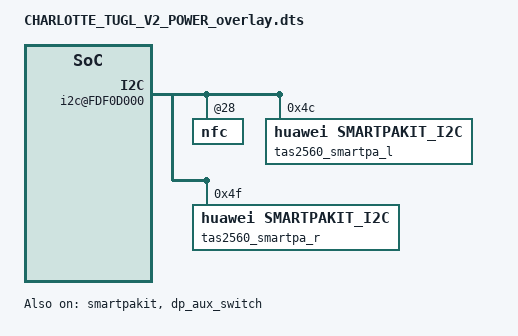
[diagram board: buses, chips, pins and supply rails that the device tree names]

/**
 * Copyright (C) 2014 Hisilicon Ltd.
 *
 *  This program is free software; you can redistribute it and/or modify
 *  it under the terms of the GNU General Public License version 2 as
 *  publishhed by the Free Software Foundation.
 */

/dts-v1/;
/plugin/;
/include/ "CHARLOTTE_TUGL_V1_overlay.dtsi"

/ {
    board_id = <6523>;
};

&rootparam {
        hisi,dtbo_idx = <109>;
    hisi,boardid = <6 5 2 3>;
    hisi,boardname = "CHARLOTTE_TUGL_V2_POWER";
};


&smartpakit{
    dsp_img_name = "hifi_6403_tas_devkit.img";
    status = "ok";
};

&dp_aux_switch {
    aux_switch_from_fsa4476;
    status = "ok";
};

&amba {
    i2c@FDF0D000 {
        nfc@28 {
            clk_status ="xtal";
        };
    };
};

&amba {
    i2c@FDF0D000 {
        smartpa@34{
            status = "disabled";
        };
        smartpa@36{
            status = "disabled";
        };

tas2560_smartpa_l:smartpa@4C {
                      compatible = "huawei,smartpakit_i2c";
                      reg = <0x4C>;
                      /* 0 MAXIM, 1 NXP, 2 TI, 3 OTHER */
                      chip_vendor = <2>;
                      /* refer to smartpakit.out_device prop */
                      chip_id = <0>;
                      chip_model = "tas2560";
                      /* maybe trigger one irq after some chip reset, ext. tas2560
                       * debounce wait time unit: msecs */
                      reset_debounce_wait_time = <100>;
                      status = "ok";

                      /* reg_ctl node: a node contains three data<addr value ctl_type>
                       * ctl_type: 0 read reg(default), 1 write reg, 2 only time delay
                       * value:
                       *     read:  reg number(num >= 1)
                       *     write: reg value
                       *     delay: time delay
                       * time delay unit: msecs */
                      version_regs = <
                          0  0  1
                          125 1 0
                          >;
                      dump_regs = <
                          0 0   1
                          0 128 0
                          0 50  1
                          0 128 0
                          0 51  1
                          0 128 0
                          0 52  1
                          0 128 0
                          >;
                      hw_reset {
                          gpio_reset = <134>;
                          /* gpio_state node: a node contains two data<state delay>
                           * time delay unit: msecs */
                          ctl_sequence = <0 3 1 2>;
                      };
                      irq_handler {
                          gpio_irq = <200>;
                          /* 0x0 IRQF_TRIGGER_NONE, 0x1 IRQF_TRIGGER_RISING, 0x2 IRQF_TRIGGER_FALLING, 0x4 IRQF_TRIGGER_HIGH, 0x8 IRQF_TRIGGER_LOW*/
                          irq_flags = <2>;
                          /* whether or not need reset chip*/
                          need_reset;
                          rw_sequence = <
                              0  20 2
                              0  0  1
                              37 1  0
                              38 1  0
                              39 1  0
                              7  1  0
                              42 1  0
                              >;
                      };
                      regmap_cfg {
                          reg_bits = <8>;
                          val_bits = <8>;
                          /* 0 REGCACHE_NONE, 1 REGCACHE_RBTREE, 2 REGCACHE_COMPRESSED, 3 REGCACHE_FLAT */
                          cache_type = <0>;
                          max_register = <128>;
                      };
                  };
tas2560_smartpa_r:smartpa@4F {
                      compatible = "huawei,smartpakit_i2c";
                      reg = <0x4F>;
                      /* 0 MAXIM, 1 NXP, 2 TI, 3 OTHER */
                      chip_vendor = <2>;
                      /* refer to smartpakit.out_device prop */
                      chip_id = <1>;
                      chip_model = "tas2560";
                      /* maybe trigger one irq after some chip reset, ext. tas2560
                       * debounce wait time unit: msecs */
                      reset_debounce_wait_time = <100>;
                      status = "ok";

                      /* reg_ctl node: a node contains three data<addr value ctl_type>
                       * ctl_type: 0 read reg(default), 1 write reg, 2 only time delay
                       * value:
                       *     read:  reg number(num >= 1)
                       *     write: reg value
                       *     delay: time delay
                       * time delay unit: msecs */
                      version_regs = <
                          0   0   1
                          125 1   0
                          >;
                      dump_regs = <
                          0   0   1
                          0   128 0
                          0   50  1
                          0   128 0
                          0   51  1
                          0   128 0
                          0   52  1
                          0   128 0
                          >;
                      hw_reset {
                          gpio_reset = <146>;
                          /* gpio_state node: a node contains two data<state delay>
                           * time delay unit: msecs */
                          ctl_sequence = <0 3 1 2>;
                      };
                      irq_handler {
                          gpio_irq = <184>;
                          /* 0x0 IRQF_TRIGGER_NONE, 0x1 IRQF_TRIGGER_RISING, 0x2 IRQF_TRIGGER_FALLING, 0x4 IRQF_TRIGGER_HIGH, 0x8 IRQF_TRIGGER_LOW*/
                          irq_flags = <2>;
                          /* whether or not need reset chip*/
                          need_reset;
                          rw_sequence = <
                              0   20  2
                              0   0   1
                              37  1   0
                              38  1   0
                              39  1   0
                              7   1   0
                              42  1   0
                              >;
                      };
                      regmap_cfg {
                          reg_bits = <8>;
                          val_bits = <8>;
                          /* 0 REGCACHE_NONE, 1 REGCACHE_RBTREE, 2 REGCACHE_COMPRESSED, 3 REGCACHE_FLAT */
                          cache_type = <0>;
                          max_register = <128>;
                      };
                  };
    };
};
